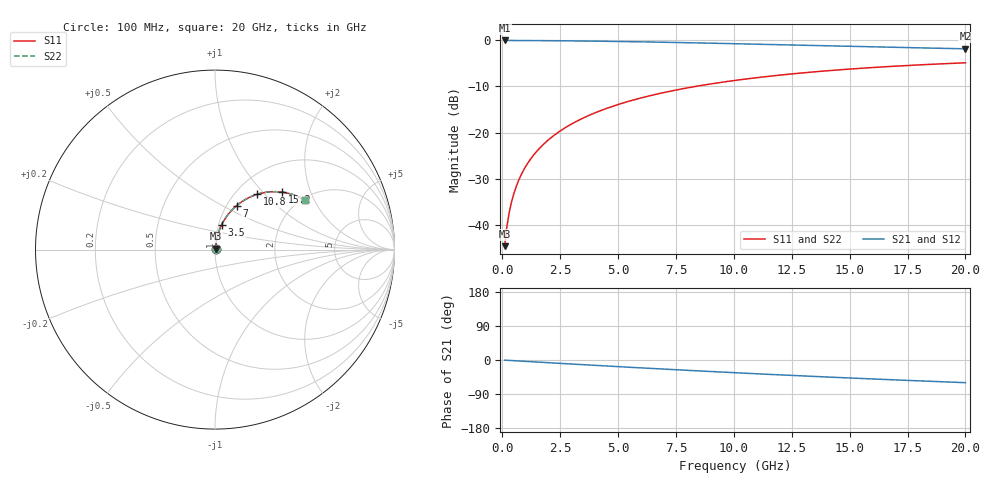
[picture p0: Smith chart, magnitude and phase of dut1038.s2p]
! Touchstone file exported from HFSS 2026.1.0
!  File:  C:/ffzhzh/LocalFiles/Ansys_Project_Files/temp_train_TMRDL_1038_1783160152_18472.aedt
!  Generated:  06:17:18 PM Jul  4, 2026
!  Design:  TMRDL
!  Project:  temp_train_TMRDL_1038_1783160152_18472
! Variables:
!  h_bsmrdl = 2um
!  h_ox = 20um
!  h_rdl = 5um
!  h_sub = 80um
!  h_tmrdl = 4.36um
!  h_tsv = 80um
!  h_via = 3um
!  l_bsmrdl = 300um
!  l_sub = 1291.93um
!  l_tmrdl = 891.93um
!  m_sub = 200um
!  pitch = 59.77um
!  r_tsv = 6um
!  s_tmrdl = 10um
!  w_bsmrdl = 18um
!  w_sub = 500um
!  w_tmrdl = 19.33um
!  x_tsv_center1 = 901.595um
!  x_tsv_center2 = 1219.595um
!  x_tsv_center3 = 2130.855um
!  x_tsv_center4 = 2448.855um
!  x_tsv_center5 = 3360.115um
!  x_tsv_center6 = 3678.115um
# GHz S MA R 50.000000
! Terminal data exported
! Port[1] = TM_RDL1_1_T1
! Port[2] = TM_RDL1_1_T2
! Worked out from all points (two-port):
!   200 points, 100 MHz to 20 GHz, reference 50 ohm
!   highest |S21| = -0.03 dB at 100 MHz (marker M1); lowest = -1.8 dB at 20 GHz (marker M2)
!   |S21| within 3 dB of the highest: start of sweep to end of sweep
!   lowest |S11| = -44.6 dB at 100 MHz (marker M3), VSWR 1.01, Z = 50.4 + j0.446 ohm
!   |S11| at or under -10 dB: start of sweep to 8.335 GHz
!   |S22| runs from -44.6 to -4.9 dB; largest |S21 - S12| = 4e-15
!   S11 on the Smith chart (normalised r, x): 100 MHz: 1.01, +0.01; 3.5 GHz: 1.04, +0.29; 7 GHz: 1.11, +0.59; 10.8 GHz: 1.25, +0.91; 15.2 GHz: 1.53, +1.29; 20 GHz: 2.06, +1.69
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0.1  0.005893 48.7  0.9961 -0.4  0.9961 -0.4  0.005893 48.7
! Gamma 0 0 0 0
! Port Impedance 50 0 50 0
0.2  0.00968 64.7  0.9959 -0.7  0.9959 -0.7  0.00968 64.7
0.3  0.01372 71.1  0.9957 -1.1  0.9957 -1.1  0.01372 71.1
0.4  0.0178 74.5  0.9955 -1.5  0.9955 -1.5  0.0178 74.5
0.5  0.02189 76.5  0.9953 -1.8  0.9953 -1.8  0.02189 76.5
0.7  0.03013 78.7  0.995 -2.5  0.995 -2.5  0.03013 78.7
1  0.04255 80.0  0.9944 -3.6  0.9944 -3.6  0.04255 80.0
1.4  0.05912 80.1  0.9933 -5.0  0.9933 -5.0  0.05912 80.1
2  0.08385 79.2  0.9911 -7.2  0.9911 -7.2  0.08385 79.2
2.7  0.1123 77.3  0.9877 -9.6  0.9877 -9.6  0.1123 77.3
3.5  0.1442 74.9  0.9829 -12.4  0.9829 -12.4  0.1442 74.9
4.2  0.1713 72.7  0.9779 -14.8  0.9779 -14.8  0.1713 72.7
5  0.2015 70.2  0.9714 -17.5  0.9714 -17.5  0.2015 70.2
6.8  0.2657 64.5  0.9546 -23.5  0.9546 -23.5  0.2657 64.5
7  0.2725 63.9  0.9525 -24.1  0.9525 -24.1  0.2725 63.9
8.5  0.3214 59.3  0.9364 -28.9  0.9364 -28.9  0.3214 59.3
10.1  0.3692 54.5  0.9181 -33.7  0.9181 -33.7  0.3692 54.5
10.8  0.3887 52.5  0.9099 -35.8  0.9099 -35.8  0.3887 52.5
13.4  0.4537 45.3  0.8791 -43.2  0.8791 -43.2  0.4537 45.3
15.2  0.492 40.6  0.8584 -48.0  0.8584 -48.0  0.492 40.6
16.7  0.52 36.8  0.8419 -51.9  0.8419 -51.9  0.52 36.9
20  0.5704 29.0  0.8092 -59.8  0.8092 -59.8  0.5704 29.0
